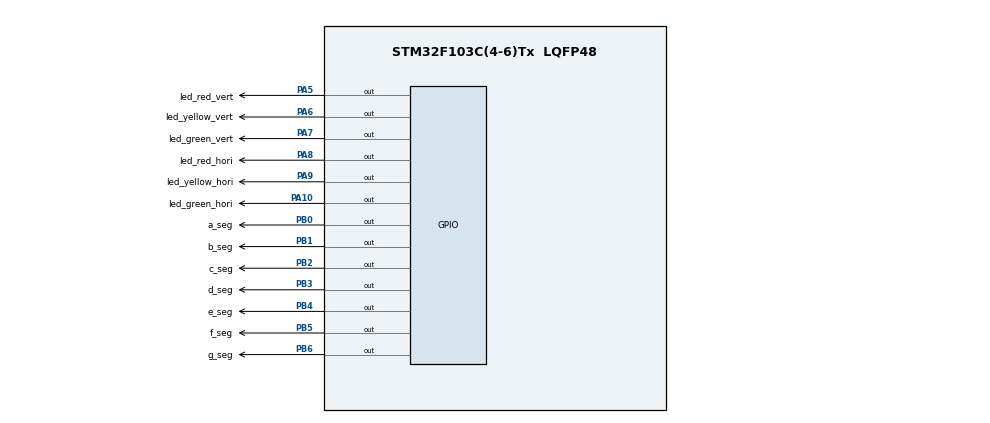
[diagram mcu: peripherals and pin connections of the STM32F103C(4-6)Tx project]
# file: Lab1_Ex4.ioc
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Mcu.Family=STM32F1
Mcu.Name=STM32F103C(4-6)Tx
Mcu.Package=LQFP48
NVIC.PriorityGroup=NVIC_PRIORITYGROUP_4
PA10.GPIO_Label=led_green_hori
PA10.Signal=GPIO_Output
PA5.GPIO_Label=led_red_vert
PA5.Signal=GPIO_Output
PA6.GPIO_Label=led_yellow_vert
PA6.Signal=GPIO_Output
PA7.GPIO_Label=led_green_vert
PA7.Signal=GPIO_Output
PA8.GPIO_Label=led_red_hori
PA8.Signal=GPIO_Output
PA9.GPIO_Label=led_yellow_hori
PA9.Signal=GPIO_Output
PB0.GPIO_Label=a_seg
PB0.Signal=GPIO_Output
PB1.GPIO_Label=b_seg
PB1.Signal=GPIO_Output
PB2.GPIO_Label=c_seg
PB2.Signal=GPIO_Output
PB3.GPIO_Label=d_seg
PB3.Signal=GPIO_Output
PB4.GPIO_Label=e_seg
PB4.Signal=GPIO_Output
PB5.GPIO_Label=f_seg
PB5.Signal=GPIO_Output
PB6.GPIO_Label=g_seg
PB6.Signal=GPIO_Output
ProjectManager.HeapSize=0x200
ProjectManager.StackSize=0x400
ProjectManager.TargetToolchain=STM32CubeIDE
RCC.APB1Freq_Value=8000000
RCC.APB2Freq_Value=8000000
VP_SYS_VS_ND.Mode=No_Debug
board=custom

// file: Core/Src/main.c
/* USER CODE BEGIN Header */
/**
  ******************************************************************************
  * @file           : main.c
  * @brief          : Main program body
  ******************************************************************************
  * @attention
  *
  * <h2><center>&copy; Copyright (c) 2022 STMicroelectronics.
  * All rights reserved.</center></h2>
  *
  * This software component is licensed by ST under BSD 3-Clause license,
  * the "License"; You may not use this file except in compliance with the
  * License. You may obtain a copy of the License at:
  *                        opensource.org/licenses/BSD-3-Clause
  *
  ******************************************************************************
  */
/* USER CODE END Header */
#include "main.h"

void SystemClock_Config(void);
static void MX_GPIO_Init(void);
/* USER CODE BEGIN PFP */

void display7SEG(int num);
char led_toggle(GPIO_TypeDef* red, uint16_t red_pin , GPIO_TypeDef* yellow, uint16_t yellow_pin, GPIO_TypeDef* green, uint16_t green_pin, char color);

/* USER CODE END PFP */

int main(void)
{

  /* MCU Configuration--------------------------------------------------------*/

  /* Reset of all peripherals, Initializes the Flash interface and the Systick. */
  HAL_Init();

  /* Configure the system clock */
  SystemClock_Config();

  /* Initialize all configured peripherals */
  MX_GPIO_Init();

  /* Infinite loop */
  /* USER CODE BEGIN WHILE */
  int first_time_counter = 1;
  int counter = 0;
  char color_x;
  char color_y;
  int first_time_light = 1;
  while (1)
  {
	  //Counter set
	  if(first_time_counter == 1)
	  {
		  counter = 0;
		  display7SEG(counter++);
		  first_time_counter = 0;
	  }
	  if (counter >= 10) counter = 0;
	  //Light
	  if(first_time_light == 1)
	  {
		  HAL_GPIO_TogglePin(led_yellow_vert_GPIO_Port, led_yellow_vert_Pin);
		  HAL_GPIO_TogglePin(led_green_vert_GPIO_Port, led_green_vert_Pin);
		  color_y = 'R';

		  HAL_GPIO_TogglePin(led_yellow_hori_GPIO_Port, led_yellow_hori_Pin);
		  HAL_GPIO_TogglePin(led_red_hori_GPIO_Port, led_red_hori_Pin);
		  color_x = 'G';

		  first_time_light = 0;
	  }
	  if(color_y == 'R')
	  {
		  for (int i = 0; i < 3; i++)
		  {
			  if (counter >= 10) counter = 0;
			  HAL_Delay(1000);
			  display7SEG(counter++);
		  }
		  color_x = led_toggle(led_red_hori_GPIO_Port, led_red_hori_Pin, led_yellow_hori_GPIO_Port, led_yellow_hori_Pin, led_green_hori_GPIO_Port, led_green_hori_Pin, color_x);
		  for (int i = 0; i < 2; i++)
		  {
			  if (counter >= 10) counter = 0;
			  HAL_Delay(1000);
			  display7SEG(counter++);
		  }
		  color_x = led_toggle(led_red_hori_GPIO_Port, led_red_hori_Pin, led_yellow_hori_GPIO_Port, led_yellow_hori_Pin, led_green_hori_GPIO_Port, led_green_hori_Pin, color_x);
		  color_y = led_toggle(led_red_vert_GPIO_Port, led_red_vert_Pin, led_yellow_vert_GPIO_Port, led_yellow_vert_Pin, led_green_vert_GPIO_Port, led_green_vert_Pin, color_y);
	  }
	  else if (color_x == 'R')
	  {
		  for (int i = 0; i < 3; i++)
		  {
			  if (counter >= 10) counter = 0;
			  HAL_Delay(1000);
			  display7SEG(counter++);
		  }
		  color_y = led_toggle(led_red_vert_GPIO_Port, led_red_vert_Pin, led_yellow_vert_GPIO_Port, led_yellow_vert_Pin, led_green_vert_GPIO_Port, led_green_vert_Pin, color_y);
		  for (int i = 0; i < 2; i++)
		  {
			  if (counter >= 10) counter = 0;
			  HAL_Delay(1000);
			  display7SEG(counter++);
		  }
		  color_y = led_toggle(led_red_vert_GPIO_Port, led_red_vert_Pin, led_yellow_vert_GPIO_Port, led_yellow_vert_Pin, led_green_vert_GPIO_Port, led_green_vert_Pin, color_y);
		  color_x = led_toggle(led_red_hori_GPIO_Port, led_red_hori_Pin, led_yellow_hori_GPIO_Port, led_yellow_hori_Pin, led_green_hori_GPIO_Port, led_green_hori_Pin, color_x);
	  }

    /* USER CODE END WHILE */

  }
}

void SystemClock_Config(void)
{
  RCC_OscInitTypeDef RCC_OscInitStruct = {0};
  RCC_ClkInitTypeDef RCC_ClkInitStruct = {0};

  /** Initializes the RCC Oscillators according to the specified parameters
  * in the RCC_OscInitTypeDef structure.
  */
  RCC_OscInitStruct.OscillatorType = RCC_OSCILLATORTYPE_HSI;
  RCC_OscInitStruct.HSIState = RCC_HSI_ON;
  RCC_OscInitStruct.HSICalibrationValue = RCC_HSICALIBRATION_DEFAULT;
  RCC_OscInitStruct.PLL.PLLState = RCC_PLL_NONE;
  if (HAL_RCC_OscConfig(&RCC_OscInitStruct) != HAL_OK)
  {
    Error_Handler();
  }
  /** Initializes the CPU, AHB and APB buses clocks
  */
  RCC_ClkInitStruct.ClockType = RCC_CLOCKTYPE_HCLK|RCC_CLOCKTYPE_SYSCLK
                              |RCC_CLOCKTYPE_PCLK1|RCC_CLOCKTYPE_PCLK2;
  RCC_ClkInitStruct.SYSCLKSource = RCC_SYSCLKSOURCE_HSI;
  RCC_ClkInitStruct.AHBCLKDivider = RCC_SYSCLK_DIV1;
  RCC_ClkInitStruct.APB1CLKDivider = RCC_HCLK_DIV1;
  RCC_ClkInitStruct.APB2CLKDivider = RCC_HCLK_DIV1;

  if (HAL_RCC_ClockConfig(&RCC_ClkInitStruct, FLASH_LATENCY_0) != HAL_OK)
  {
    Error_Handler();
  }
}

static void MX_GPIO_Init(void)
{
  GPIO_InitTypeDef GPIO_InitStruct = {0};

  /* GPIO Ports Clock Enable */
  __HAL_RCC_GPIOA_CLK_ENABLE();
  __HAL_RCC_GPIOB_CLK_ENABLE();

  /*Configure GPIO pin Output Level */
  HAL_GPIO_WritePin(GPIOA, led_red_vert_Pin|led_yellow_vert_Pin|led_green_vert_Pin|led_red_hori_Pin
                          |led_yellow_hori_Pin|led_green_hori_Pin, GPIO_PIN_RESET);

  /*Configure GPIO pin Output Level */
  HAL_GPIO_WritePin(GPIOB, a_seg_Pin|b_seg_Pin|c_seg_Pin|d_seg_Pin
                          |e_seg_Pin|f_seg_Pin|g_seg_Pin, GPIO_PIN_RESET);

  /*Configure GPIO pins : led_red_vert_Pin led_yellow_vert_Pin led_green_vert_Pin led_red_hori_Pin
                           led_yellow_hori_Pin led_green_hori_Pin */
  GPIO_InitStruct.Pin = led_red_vert_Pin|led_yellow_vert_Pin|led_green_vert_Pin|led_red_hori_Pin
                          |led_yellow_hori_Pin|led_green_hori_Pin;
  GPIO_InitStruct.Mode = GPIO_MODE_OUTPUT_PP;
  GPIO_InitStruct.Pull = GPIO_NOPULL;
  GPIO_InitStruct.Speed = GPIO_SPEED_FREQ_LOW;
  HAL_GPIO_Init(GPIOA, &GPIO_InitStruct);

  /*Configure GPIO pins : a_seg_Pin b_seg_Pin c_seg_Pin d_seg_Pin
                           e_seg_Pin f_seg_Pin g_seg_Pin */
  GPIO_InitStruct.Pin = a_seg_Pin|b_seg_Pin|c_seg_Pin|d_seg_Pin
                          |e_seg_Pin|f_seg_Pin|g_seg_Pin;
  GPIO_InitStruct.Mode = GPIO_MODE_OUTPUT_PP;
  GPIO_InitStruct.Pull = GPIO_NOPULL;
  GPIO_InitStruct.Speed = GPIO_SPEED_FREQ_LOW;
  HAL_GPIO_Init(GPIOB, &GPIO_InitStruct);

}

/* USER CODE BEGIN 4 */

void display7SEG(int num)
{
	switch (num) {
		case 0:
			HAL_GPIO_WritePin(a_seg_GPIO_Port, a_seg_Pin, RESET);
			HAL_GPIO_WritePin(b_seg_GPIO_Port, b_seg_Pin, RESET);
			HAL_GPIO_WritePin(c_seg_GPIO_Port, c_seg_Pin, RESET);
			HAL_GPIO_WritePin(d_seg_GPIO_Port, d_seg_Pin, RESET);
			HAL_GPIO_WritePin(e_seg_GPIO_Port, e_seg_Pin, RESET);
			HAL_GPIO_WritePin(f_seg_GPIO_Port, f_seg_Pin, RESET);
			HAL_GPIO_WritePin(g_seg_GPIO_Port, g_seg_Pin, SET);
			break;
		case 1:
			HAL_GPIO_WritePin(a_seg_GPIO_Port, a_seg_Pin, SET);
			HAL_GPIO_WritePin(b_seg_GPIO_Port, b_seg_Pin, RESET);
			HAL_GPIO_WritePin(c_seg_GPIO_Port, c_seg_Pin, RESET);
			HAL_GPIO_WritePin(d_seg_GPIO_Port, d_seg_Pin, SET);
			HAL_GPIO_WritePin(e_seg_GPIO_Port, e_seg_Pin, SET);
			HAL_GPIO_WritePin(f_seg_GPIO_Port, f_seg_Pin, SET);
			HAL_GPIO_WritePin(g_seg_GPIO_Port, g_seg_Pin, SET);
			break;
		case 2:
			HAL_GPIO_WritePin(a_seg_GPIO_Port, a_seg_Pin, RESET);
			HAL_GPIO_WritePin(b_seg_GPIO_Port, b_seg_Pin, RESET);
			HAL_GPIO_WritePin(c_seg_GPIO_Port, c_seg_Pin, SET);
			HAL_GPIO_WritePin(d_seg_GPIO_Port, d_seg_Pin, RESET);
			HAL_GPIO_WritePin(e_seg_GPIO_Port, e_seg_Pin, RESET);
			HAL_GPIO_WritePin(f_seg_GPIO_Port, f_seg_Pin, SET);
			HAL_GPIO_WritePin(g_seg_GPIO_Port, g_seg_Pin, RESET);
			break;
		case 3:
			HAL_GPIO_WritePin(a_seg_GPIO_Port, a_seg_Pin, RESET);
			HAL_GPIO_WritePin(b_seg_GPIO_Port, b_seg_Pin, RESET);
			HAL_GPIO_WritePin(c_seg_GPIO_Port, c_seg_Pin, RESET);
			HAL_GPIO_WritePin(d_seg_GPIO_Port, d_seg_Pin, RESET);
			HAL_GPIO_WritePin(e_seg_GPIO_Port, e_seg_Pin, SET);
			HAL_GPIO_WritePin(f_seg_GPIO_Port, f_seg_Pin, SET);
			HAL_GPIO_WritePin(g_seg_GPIO_Port, g_seg_Pin, RESET);
			break;
		case 4:
			HAL_GPIO_WritePin(a_seg_GPIO_Port, a_seg_Pin, SET);
			HAL_GPIO_WritePin(b_seg_GPIO_Port, b_seg_Pin, RESET);
			HAL_GPIO_WritePin(c_seg_GPIO_Port, c_seg_Pin, RESET);
			HAL_GPIO_WritePin(d_seg_GPIO_Port, d_seg_Pin, SET);
			HAL_GPIO_WritePin(e_seg_GPIO_Port, e_seg_Pin, SET);
			HAL_GPIO_WritePin(f_seg_GPIO_Port, f_seg_Pin, RESET);
			HAL_GPIO_WritePin(g_seg_GPIO_Port, g_seg_Pin, RESET);
			break;
		case 5:
			HAL_GPIO_WritePin(a_seg_GPIO_Port, a_seg_Pin, RESET);
			HAL_GPIO_WritePin(b_seg_GPIO_Port, b_seg_Pin, SET);
			HAL_GPIO_WritePin(c_seg_GPIO_Port, c_seg_Pin, RESET);
			HAL_GPIO_WritePin(d_seg_GPIO_Port, d_seg_Pin, RESET);
			HAL_GPIO_WritePin(e_seg_GPIO_Port, e_seg_Pin, SET);
			HAL_GPIO_WritePin(f_seg_GPIO_Port, f_seg_Pin, RESET);
			HAL_GPIO_WritePin(g_seg_GPIO_Port, g_seg_Pin, RESET);
			break;
		case 6:
			HAL_GPIO_WritePin(a_seg_GPIO_Port, a_seg_Pin, RESET);
			HAL_GPIO_WritePin(b_seg_GPIO_Port, b_seg_Pin, SET);
			HAL_GPIO_WritePin(c_seg_GPIO_Port, c_seg_Pin, RESET);
			HAL_GPIO_WritePin(d_seg_GPIO_Port, d_seg_Pin, RESET);
			HAL_GPIO_WritePin(e_seg_GPIO_Port, e_seg_Pin, RESET);
			HAL_GPIO_WritePin(f_seg_GPIO_Port, f_seg_Pin, RESET);
			HAL_GPIO_WritePin(g_seg_GPIO_Port, g_seg_Pin, RESET);
			break;
		case 7:
			HAL_GPIO_WritePin(a_seg_GPIO_Port, a_seg_Pin, RESET);
			HAL_GPIO_WritePin(b_seg_GPIO_Port, b_seg_Pin, RESET);
			HAL_GPIO_WritePin(c_seg_GPIO_Port, c_seg_Pin, RESET);
			HAL_GPIO_WritePin(d_seg_GPIO_Port, d_seg_Pin, SET);
			HAL_GPIO_WritePin(e_seg_GPIO_Port, e_seg_Pin, SET);
			HAL_GPIO_WritePin(f_seg_GPIO_Port, f_seg_Pin, SET);
			HAL_GPIO_WritePin(g_seg_GPIO_Port, g_seg_Pin, SET);
			break;
		case 8:
			HAL_GPIO_WritePin(a_seg_GPIO_Port, a_seg_Pin, RESET);
			HAL_GPIO_WritePin(b_seg_GPIO_Port, b_seg_Pin, RESET);
			HAL_GPIO_WritePin(c_seg_GPIO_Port, c_seg_Pin, RESET);
			HAL_GPIO_WritePin(d_seg_GPIO_Port, d_seg_Pin, RESET);
			HAL_GPIO_WritePin(e_seg_GPIO_Port, e_seg_Pin, RESET);
			HAL_GPIO_WritePin(f_seg_GPIO_Port, f_seg_Pin, RESET);
			HAL_GPIO_WritePin(g_seg_GPIO_Port, g_seg_Pin, RESET);
			break;
		case 9:
			HAL_GPIO_WritePin(a_seg_GPIO_Port, a_seg_Pin, RESET);
			HAL_GPIO_WritePin(b_seg_GPIO_Port, b_seg_Pin, RESET);
			HAL_GPIO_WritePin(c_seg_GPIO_Port, c_seg_Pin, RESET);
			HAL_GPIO_WritePin(d_seg_GPIO_Port, d_seg_Pin, RESET);
			HAL_GPIO_WritePin(e_seg_GPIO_Port, e_seg_Pin, SET);
			HAL_GPIO_WritePin(f_seg_GPIO_Port, f_seg_Pin, RESET);
			HAL_GPIO_WritePin(g_seg_GPIO_Port, g_seg_Pin, RESET);
			break;
		default:
			break;
	}
}

char led_toggle(GPIO_TypeDef* red, uint16_t red_pin , GPIO_TypeDef* yellow, uint16_t yellow_pin, GPIO_TypeDef* green, uint16_t green_pin, char color)
{
	  if(color == 'R')
	  {
		  HAL_GPIO_TogglePin(red, red_pin);
		  HAL_GPIO_TogglePin(green, green_pin);
		  color = 'G';
	  }
	  else if (color == 'Y')
	  {
		  HAL_GPIO_TogglePin(yellow, yellow_pin);
		  HAL_GPIO_TogglePin(red, red_pin);
		  color = 'R';
	  }
	  else if (color == 'G')
	  {
		  HAL_GPIO_TogglePin(green, green_pin);
		  HAL_GPIO_TogglePin(yellow, yellow_pin);
		  color = 'Y';
	  }
	  return color;
}

/* USER CODE END 4 */

void Error_Handler(void)
{
  __disable_irq();
  while (1)
  {
  }
}

/************************ (C) COPYRIGHT STMicroelectronics *****END OF FILE****/
